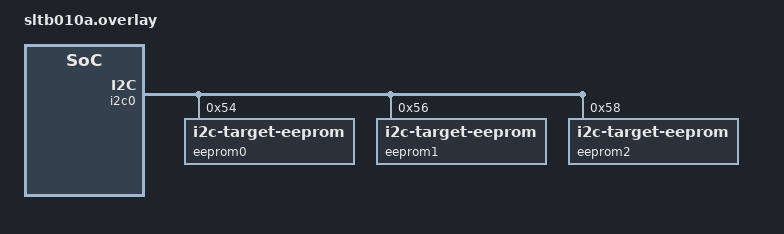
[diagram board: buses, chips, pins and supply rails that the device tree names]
/* SPDX-License-Identifier: Apache-2.0 */

&i2c0 {
	eeprom0: eeprom@54 {
		compatible = "zephyr,i2c-target-eeprom";
		reg = <0x54>;
		size = <256>;
	};
	eeprom1: eeprom@56 {
		compatible = "zephyr,i2c-target-eeprom";
		reg = <0x56>;
		size = <256>;
	};
	eeprom2: eeprom@58 {
		compatible = "zephyr,i2c-target-eeprom";
		reg = <0x58>;
		size = <4096>;
		address-width = <16>;
		read-only;
	};
};
